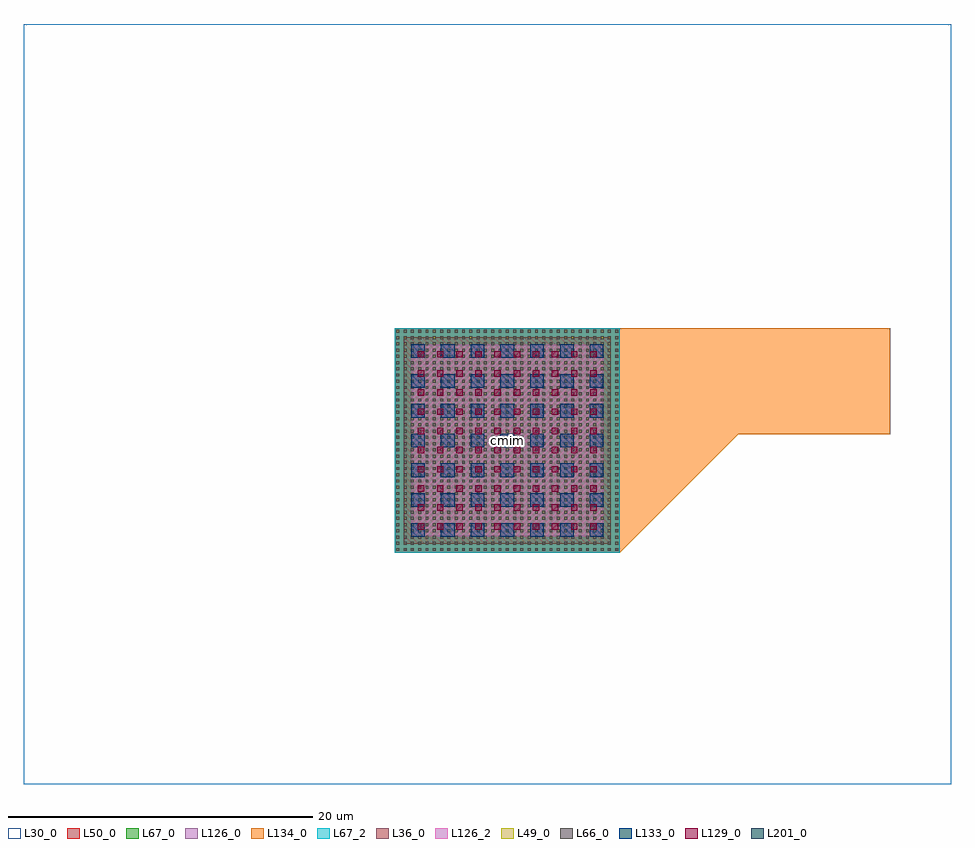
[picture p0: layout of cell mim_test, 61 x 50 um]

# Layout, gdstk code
import gdstk
lib = gdstk.Library(unit=1e-6, precision=1e-09)
def R(c, l, rs):  # rectangles x0, y0, x1, y1
    for r in rs: c.add(gdstk.rectangle(r[:2], r[2:], *l))
def A(c, l, x, y, w, h, nx, ny, dx, dy):  # array of equal rectangles
    R(c, l, [(x+i*dx, y+j*dy, x+i*dx+w, y+j*dy+h) for i in range(nx) for j in range(ny)])
def P(c, l, *ps):  # polygons
    for p in ps: c.add(gdstk.Polygon(p, *l))
L30_0 = (30, 0)
L36_0 = (36, 0)
L49_0 = (49, 0)
L50_0 = (50, 0)
L66_0 = (66, 0)
L67_0 = (67, 0)
L67_2 = (67, 2)
L126_0 = (126, 0)
L126_2 = (126, 2)
L129_0 = (129, 0)
L133_0 = (133, 0)
L134_0 = (134, 0)
L201_0 = (201, 0)

mim_test = lib.new_cell('mim_test')
R(mim_test, L30_0, [(-27,-69,34,-19), (-2.6,-53.8,12.2,-39)])
R(mim_test, L36_0, [(-2,-53.2,11.6,-39.6)])
A(mim_test, L49_0, -2.495, -53.67, 0.19, 0.19, 31, 36, 0.48, 0.41)
R(mim_test, L50_0, [(-2.6,-53.8,12.2,-39), (-2.6,-53.8,12.2,-39)])
A(mim_test, L66_0, -2.495, -53.67, 0.19, 0.19, 31, 36, 0.48, 0.41)
R(mim_test, L67_0, [(-2.6,-53.8,12.2,-39), (-2.6,-53.8,12.2,-39)])
R(mim_test, L67_2, [(-2.6,-53.8,12.2,-39)])
R(mim_test, L126_0, [(-2.6,-53.8,12.2,-39), (-1.5,-52.7,11.1,-40.1)])
R(mim_test, L126_2, [(-1.5,-52.7,11.1,-40.1)])
A(mim_test, L129_0, -1.08, -52.28, 0.42, 0.42, 10, 10, 1.26, 1.26)
A(mim_test, L133_0, -1.53, -52.73, 0.9, 0.9, 7, 7, 1.96, 1.96)
R(mim_test, L134_0, [(-2.6,-53.8,12.2,-39), (20,-46,30,-39)])
P(mim_test, L134_0, [(12.2,-53.8),(12.2,-39),(20,-39),(20,-46)])
P(mim_test, L201_0, [(30,-46),(30,-39),(30,-39),(30,-46)])
mim_test.add(gdstk.Label('cmim', (4.8,-46.4), layer=63, texttype=0))
mim_test.add(gdstk.Label('c=280.026f', (4.8,-46.4), layer=63, texttype=0))

lib.write_gds('mim_test.gds')
